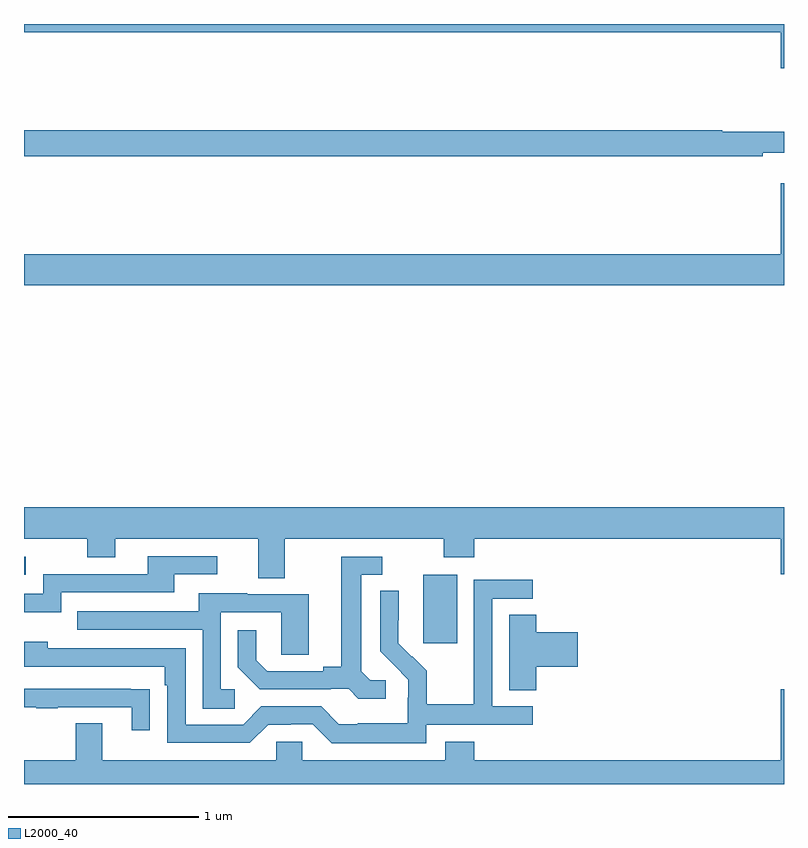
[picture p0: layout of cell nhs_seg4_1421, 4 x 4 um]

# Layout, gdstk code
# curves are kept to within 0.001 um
import gdstk
lib = gdstk.Library(unit=1e-6, precision=1e-09)
def R(c, l, rs):  # rectangles x0, y0, x1, y1
    for r in rs: c.add(gdstk.rectangle(r[:2], r[2:], *l))
def P(c, l, *ps):  # polygons
    for p in ps: c.add(gdstk.Polygon(p, *l))
L2000_40 = (2000, 40)

nhs_seg4_1421 = lib.new_cell('nhs_seg4_1421')
R(nhs_seg4_1421, L2000_40, [(187.1,757.641,187.279,758.002), (185,758.001,185.008,758.097)])
P(nhs_seg4_1421, L2000_40, [(189,760.9),(185,760.9),(185,760.856),(188.984,760.856),(188.984,760.668),(189,760.668)],
  [(188.888,760.223),(189,760.223),(189,760.333),(188.674,760.333),(188.674,760.34),(185,760.34),(185,760.204),(188.888,760.204)],
  [(189,760.063),(188.984,760.063),(188.984,759.688),(185,759.688),(185,759.524),(189,759.524)],
  [(186.373,758.192),(187.21,758.192),(187.21,758.093),(187.37,758.093),(187.37,758.192),(188.984,758.192),(188.984,758.004),(189,758.004),(189,758.356),(185,758.356),(185,758.192),(185.332,758.192),(185.332,758.093),(185.479,758.093),(185.479,758.192),(186.233,758.192),(186.233,757.984),(186.373,757.984)],
  [(185.196,757.908),(185.791,757.908),(185.791,758.004),(186.016,758.004),(186.016,758.1),(185.651,758.1),(185.651,758.004),(185.1,758.004),(185.1,757.902),(185,757.902),(185,757.805),(185.196,757.805)],
  [(186.904,757.446),(186.822,757.446),(186.775,757.493),(186.775,758.001),(186.886,758.001),(186.886,758.097),(186.671,758.097),(186.671,757.517),(186.575,757.517),(186.575,757.494),(186.28,757.494),(186.223,757.551),(186.223,757.708),(186.126,757.708),(186.126,757.514),(186.242,757.398),(186.614,757.398),(186.614,757.401),(186.708,757.401),(186.76,757.349),(186.904,757.349)],
  [(187.116,757.212),(187.678,757.212),(187.678,757.308),(187.464,757.308),(187.464,757.875),(187.678,757.875),(187.678,757.974),(187.368,757.974),(187.368,757.544),(187.366,757.544),(187.366,757.321),(187.121,757.321),(187.121,757.495),(187.044,757.572),(187.041,757.569),(186.971,757.64),(186.972,757.916),(186.876,757.916),(186.876,757.598),(187.022,757.45),(187.022,757.353),(187.02,757.353),(187.02,757.219),(186.757,757.219),(186.757,757.215),(186.657,757.215),(186.564,757.308),(186.249,757.308),(186.153,757.212),(185.85,757.212),(185.85,757.614),(185.126,757.614),(185.126,757.648),(185,757.648),(185,757.518),(185.741,757.518),(185.741,757.421),(185.754,757.421),(185.754,757.116),(186.189,757.116),(186.285,757.212),(186.404,757.212),(186.404,757.215),(186.519,757.215),(186.619,757.115),(187.116,757.115)],
  [(186.109,757.398),(186.036,757.398),(186.036,757.803),(186.354,757.803),(186.354,757.579),(186.499,757.579),(186.499,757.899),(186.175,757.899),(186.175,757.903),(185.921,757.903),(185.921,757.809),(185.281,757.809),(185.281,757.713),(185.94,757.713),(185.94,757.297),(186.109,757.297)],
  [(187.697,757.517),(187.915,757.517),(187.915,757.7),(187.697,757.7),(187.697,757.79),(187.553,757.79),(187.553,757.393),(187.697,757.393)],
  [(185.663,757.4),(185.561,757.4),(185.561,757.401),(185,757.401),(185,757.305),(185.065,757.305),(185.065,757.3),(185.177,757.3),(185.177,757.305),(185.567,757.305),(185.567,757.182),(185.663,757.182)],
  [(189,757.399),(188.984,757.399),(188.984,757.024),(187.37,757.024),(187.37,757.123),(187.217,757.123),(187.217,757.024),(186.465,757.024),(186.465,757.122),(186.327,757.122),(186.327,757.024),(185.413,757.024),(185.413,757.219),(185.273,757.219),(185.273,757.024),(185,757.024),(185,756.9),(189,756.9)])

lib.write_gds('nhs_seg4_1421.gds')
